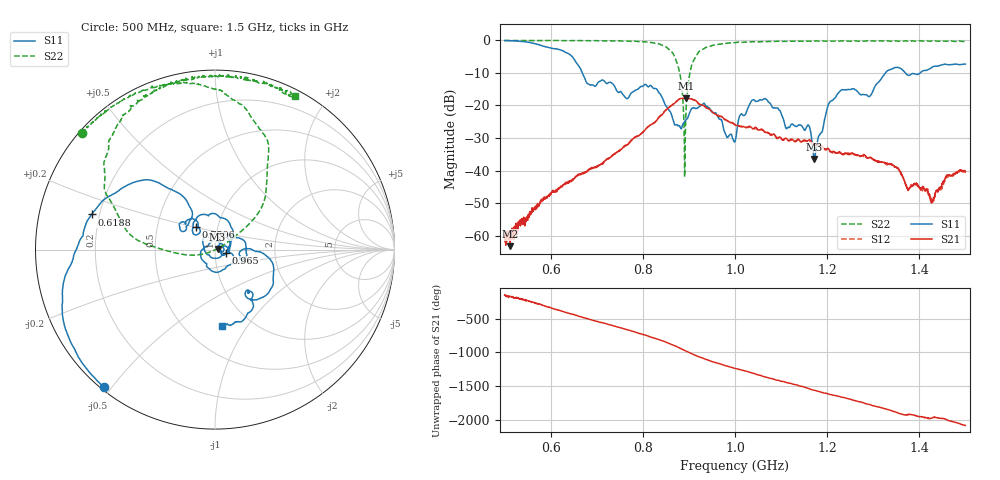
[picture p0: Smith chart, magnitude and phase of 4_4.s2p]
!Agilent Technologies,E8364B,US42250235,A.06.04.32
!Agilent E8364B: A.06.04.32
!Date: Friday, January 15, 2021 12:13:24
!Correction: S11(Full 2 Port(1,2)) S21(Full 2 Port(1,2)) S12(Full 2 Port(1,2)) S22(Full 2 Port(1,2))
!S2P File: Measurements: S11, S21, S12, S22:
# Hz S  dB  R 50
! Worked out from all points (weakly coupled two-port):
!   1601 points, 500 MHz to 1.5 GHz, reference 50 ohm
!   highest |S21| = -17.80 dB at 894.4 MHz (marker M1); lowest = -63.2 dB at 511.9 MHz (marker M2)
!   lowest |S11| = -36.4 dB at 1.173 GHz (marker M3), VSWR 1.03, Z = 51.5 + j0.422 ohm
!   |S11| at or under -10 dB: 668.5 MHz to 1.327 GHz (658.4 MHz wide, 66 % of centre); 1.369 GHz to 1.402 GHz (33.03 MHz wide, 2.38 % of centre)
!   |S22| runs from -42.0 to -0.1 dB; largest |S21 - S12| = 0.0032
!   S11 on the Smith chart (normalised r, x): 500 MHz: 0.01, -0.48; 618.8 MHz: 0.17, +0.14; 750.6 MHz: 0.79, +0.20; 965 MHz: 1.13, -0.04; 1.5 GHz: 0.74, -0.77
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5e8  -0.12 -128.9  -59.97 -150.5  -62.11 -143.8  -0.12 138.8
5.11875e8  -0.18 -134.3  -63.21 -173.1  -60.62 -174.3  -0.12 137.8
6.1875e8  -2.92 164.1  -45.21 -18.1  -45.39 -14.3  -0.16 128.3
6.66875e8  -9.46 120.6  -41.00 -116.2  -40.99 -115.8  -0.15 122.6
7.50625e8  -15.78 130.3  -33.85 87.1  -33.69 87.7  -0.23 111.3
8.3375e8  -15.93 57.7  -23.87 -85.9  -23.84 -86.0  -1.10 87.0
8.70625e8  -26.06 -40.0  -19.13 175.0  -19.16 174.5  -5.67 56.1
8.81875e8  -27.02 -133.1  -17.92 138.4  -17.91 138.3  -11.49 38.1
8.8875e8  -25.39 -160.0  -17.91 115.5  -17.95 116.1  -23.74 29.5
8.94375e8  -24.30 175.0  -17.80 98.5  -17.85 98.9  -19.93 -163.0
9.10625e8  -20.70 120.0  -18.34 47.9  -18.26 48.6  -6.11 168.8
9.65e8  -24.00 -15.1  -23.41 -84.9  -23.22 -86.0  -1.29 131.0
1e9  -31.15 -1.5  -26.01 -155.7  -25.96 -155.4  -0.79 121.0
1.035e9  -18.88 -22.9  -26.69 138.5  -26.87 139.7  -0.54 114.2
1.064375e9  -17.94 -82.1  -28.27 79.0  -27.99 79.6  -0.47 110.6
1.166875e9  -30.92 -24.8  -31.38 -112.8  -31.43 -110.0  -0.38 98.3
1.1725e9  -36.43 15.8  -31.86 -119.6  -31.87 -120.7  -0.30 96.7
1.22625e9  -15.96 21.5  -34.42 146.9  -34.74 146.8  -0.29 91.7
1.291875e9  -17.28 -6.9  -35.93 27.3  -36.31 28.2  -0.22 85.6
1.33375e9  -9.18 -19.4  -37.98 -50.2  -38.13 -48.4  -0.26 81.6
1.428125e9  -8.26 -56.7  -49.60 -167.3  -49.02 -169.7  -0.25 70.7
1.5e9  -7.36 -85.0  -40.21 78.4  -40.36 76.2  -0.30 62.5
